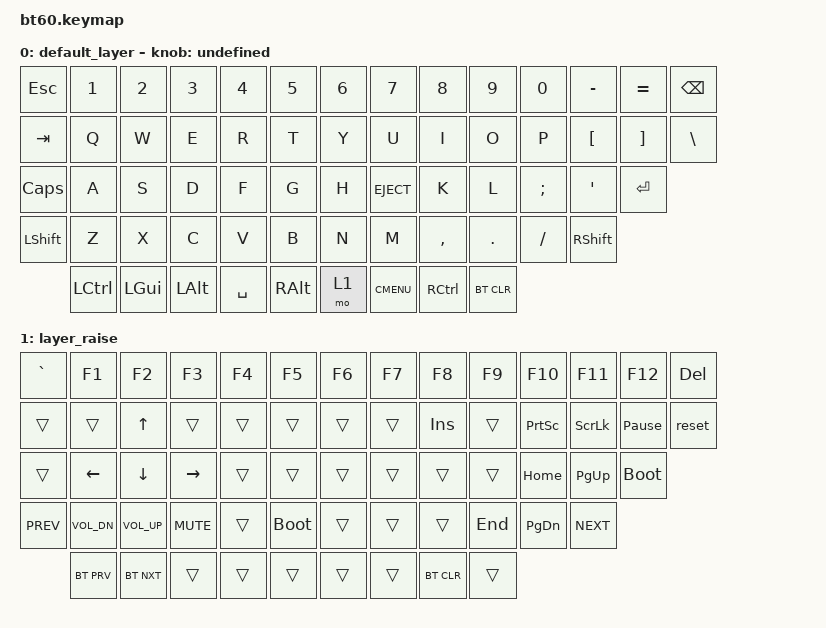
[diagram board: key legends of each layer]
/*
 * Copyright (c) 2020 The ZMK Contributors
 *
 * SPDX-License-Identifier: MIT
 */
/* THIS FILE WAS GENERATED!
 *
 * This file was generated automatically. You may or may not want to
 * edit it directly.
 */

#include <behaviors.dtsi>
#include <dt-bindings/zmk/keys.h>
#include <dt-bindings/zmk/bt.h>

/ {
    combos {
        compatible = "zmk,combos";

        tilde {
            bindings = <&kp TILDE>;
            key-positions = <52 0>;
            layers = <0>;
            slow-release;
        };

        altf4 {
            bindings = <&kp LA(F4)>;
            key-positions = <53 4>;
        };
    };

    keymap {
        compatible = "zmk,keymap";

        default_layer {
            bindings = <
  &kp ESC     &kp N1    &kp N2    &kp N3     &kp N4    &kp N5  &kp N6       &kp N7     &kp N8      &kp N9    &kp N0  &kp MINUS  &kp EQUAL  &kp BSPC
  &kp TAB      &kp Q     &kp W     &kp E      &kp R     &kp T   &kp Y        &kp U      &kp I       &kp O     &kp P   &kp LBKT   &kp RBKT  &kp BSLH
 &kp CLCK      &kp A     &kp S     &kp D      &kp F     &kp G   &kp H  &kp C_EJECT      &kp K       &kp L  &kp SEMI    &kp SQT    &kp RET
&kp LSHFT      &kp Z     &kp X     &kp C      &kp V     &kp B   &kp N        &kp M  &kp COMMA     &kp DOT  &kp FSLH  &kp RSHFT
           &kp LCTRL  &kp LGUI  &kp LALT  &kp SPACE  &kp RALT   &mo 1  &kp K_CMENU  &kp RCTRL  &bt BT_CLR
            >;

            sensor-bindings = <&inc_dec_kp undefined>;
        };

        layer_raise {
            bindings = <
 &kp GRAVE        &kp F1        &kp F2      &kp F3  &kp F4       &kp F5  &kp F6  &kp F7      &kp F8   &kp F9    &kp F10     &kp F11          &kp F12  &kp DEL
    &trans        &trans        &kp UP      &trans  &trans       &trans  &trans  &trans     &kp INS   &trans  &kp PSCRN    &kp SLCK  &kp PAUSE_BREAK   &reset
    &trans      &kp LEFT      &kp DOWN   &kp RIGHT  &trans       &trans  &trans  &trans      &trans   &trans   &kp HOME   &kp PG_UP      &bootloader
&kp C_PREV  &kp C_VOL_DN  &kp C_VOL_UP  &kp C_MUTE  &trans  &bootloader  &trans  &trans      &trans  &kp END  &kp PG_DN  &kp C_NEXT
              &bt BT_PRV    &bt BT_NXT      &trans  &trans       &trans  &trans  &trans  &bt BT_CLR   &trans
            >;
        };
    };
};
